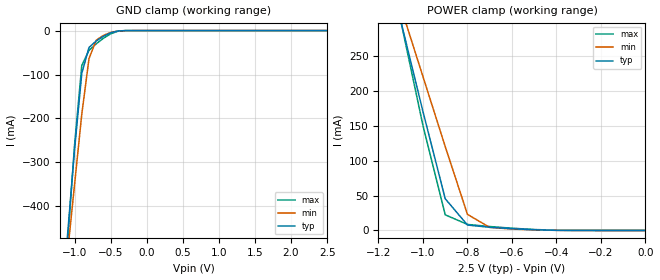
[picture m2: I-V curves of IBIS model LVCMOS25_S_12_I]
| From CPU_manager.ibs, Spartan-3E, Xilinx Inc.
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|   Model LVCMOS25_S_12_I
[Model]   LVCMOS25_S_12_I
Model_type   Input
Polarity   Non-Inverting
Vinl =   0.70V
Vinh =   1.70V
C_comp   1.50pF   1.30pF   1.70pF
[Temperature Range]   25.00   85.00   0.000
[Voltage Range]   2.50V   2.30V   2.70V
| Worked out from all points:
|   GND clamp passes 1 mA (typ) near -0.40 V on its own axis
|   POWER clamp passes 1 mA (typ) near -0.50 V on its own axis
[GND_clamp]
| voltage   I(typ)   I(min)   I(max)
-2.5V     -3.19A     -2.76A     -3.77A
-1.1V     -470mA     -510mA     -490mA
-1V       -270mA     -350mA     -260mA
-900mV    -97.22mA   -190mA     -79.28mA
-800mV    -38.27mA   -63.6mA    -44.92mA
-700mV    -23.77mA   -21.82mA   -30.15mA
-600mV    -13.05mA   -10.93mA   -17.48mA
-500mV    -5.01mA    -4.37mA    -7.42mA
-400mV    -940uA     -990uA     -1.6mA
-300mV    -78.43uA   -120uA     -130uA
2.5V      11.7nA     2.25uA     11.13nA
[POWER_clamp]
| voltage   I(typ)   I(min)   I(max)
-2.5V     2.1A       1.72A      2.35A
-1.1V     300mA      320mA      300mA
-1V       170mA      220mA      150mA
-900mV    45.39mA    120mA      22.39mA
-800mV    7.78mA     23.01mA    8.63mA
-700mV    4.56mA     4.41mA     5.65mA
-600mV    2.55mA     2.06mA     3.26mA
-400mV    200uA      200uA      300uA
0V        11.7nA     65.87nA    13.21nA
